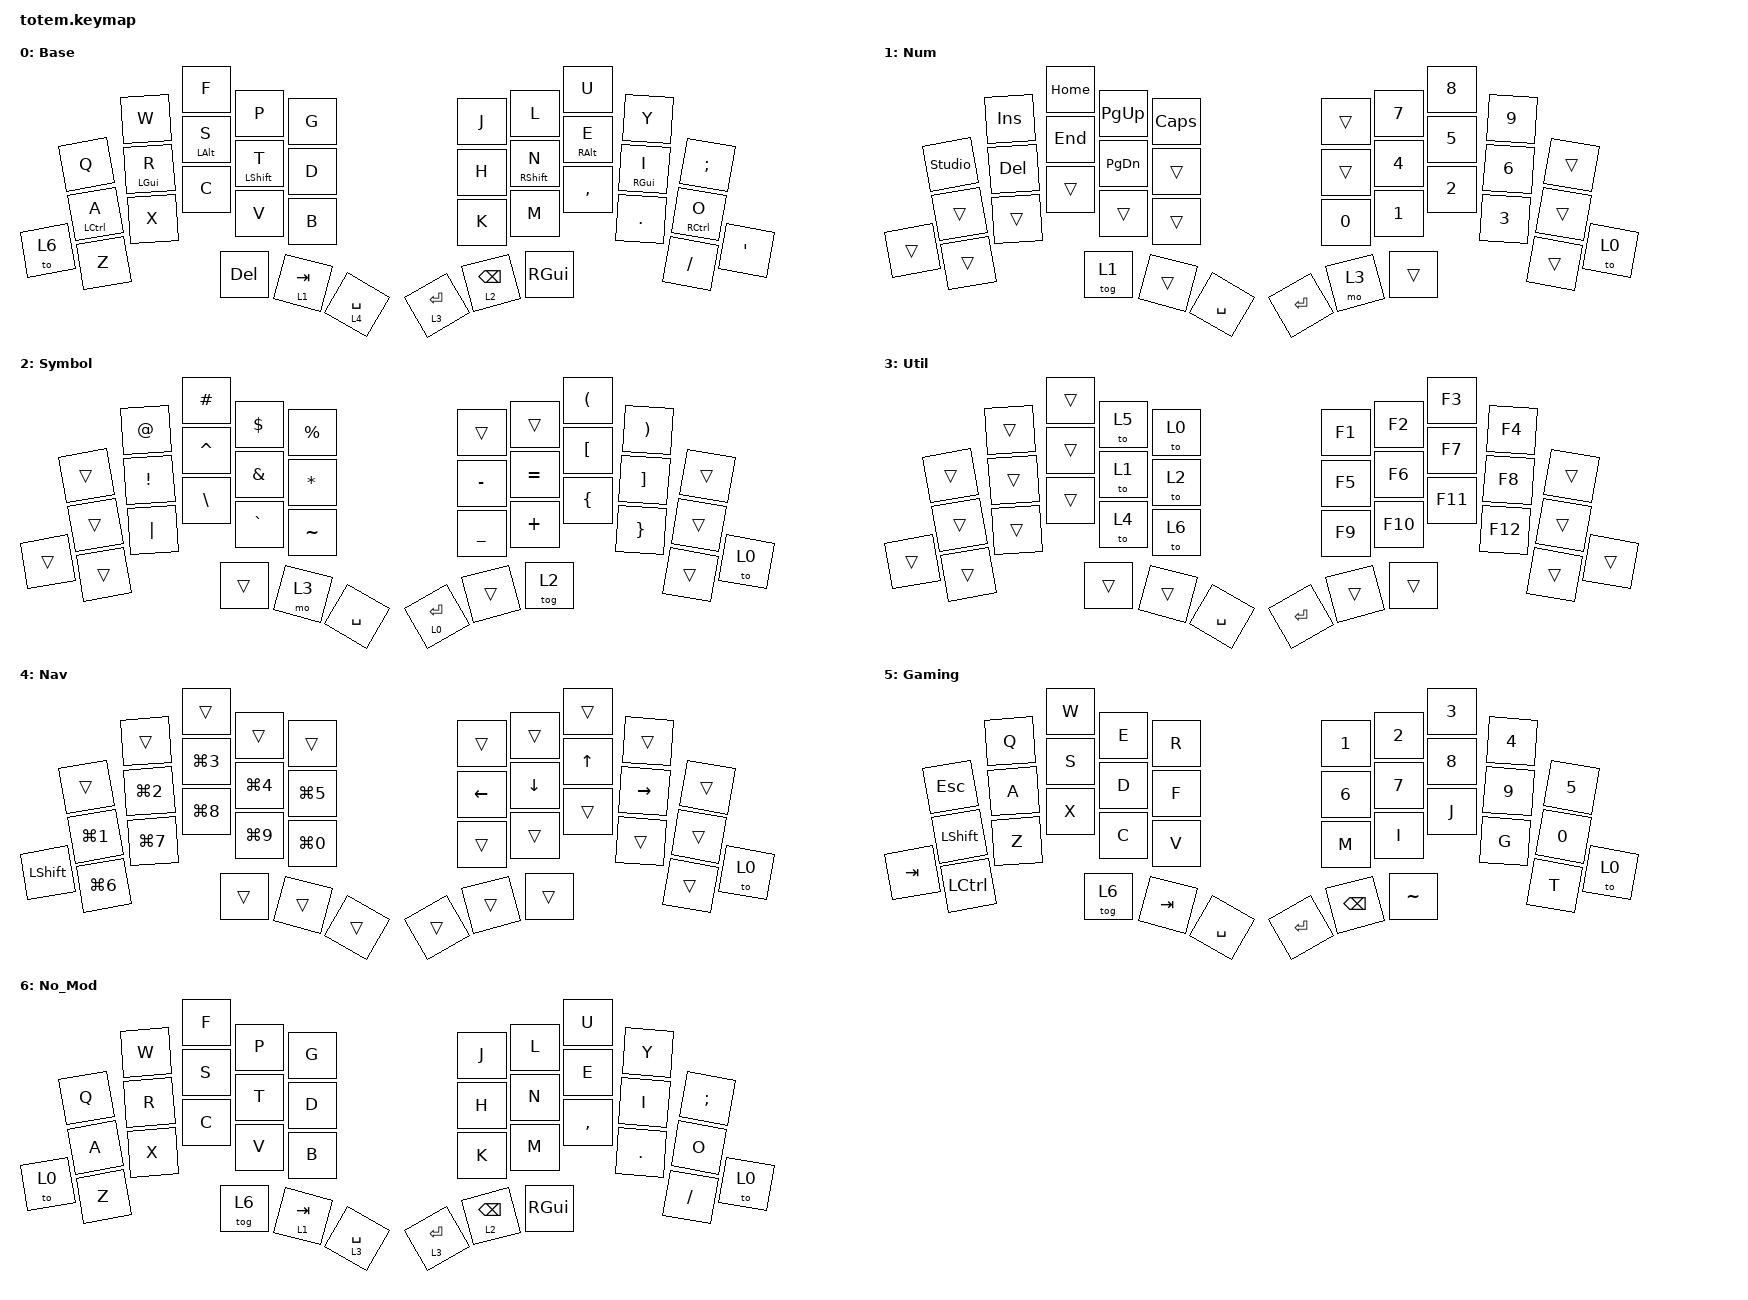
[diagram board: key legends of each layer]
//
//                                                        ▀▀▀▀▀     ▀▀▀▀▀          ▀▀█▀▀
//                                                        ▄▀▀▀▄  ▄  ▄▀▀▀▄  ▄  ▄▀▀▀▄  █  ▄▀▀▀▄
//                                                        █   █  █  █   █  █  █   █  █  █   █
//                                                         ▀▀▀   █   ▀▀▀   █   ▀▀▀   ▀   ▀▀▀
//                                                               █      ▄▄▄█▄▄▄    █   █  
//                                                               ▀      █  █  █     █▄█
//                                                             ▀▀▀▀▀    █  █  █      ▀
//                                                                      ▀  ▀  ▀
//
// ▄▄▄▄▄▄▄▄▄▄▄▄▄▄▄▄▄▄▄▄▄▄▄▄▄▄▄▄▄▄▄▄▄▄▄▄▄▄▄▄▄▄▄▄▄▄▄▄▄▄▄▄▄▄▄▄▄▄▄▄▄▄▄▄▄▄▄▄▄▄▄▄▄▄▄▄▄▄▄▄▄▄▄▄▄▄▄▄▄▄▄▄▄▄▄▄▄▄▄▄▄▄▄▄▄▄▄▄▄▄▄▄▄▄▄▄▄▄▄▄▄▄▄▄▄▄▄▄▄▄▄▄▄▄▄▄▄▄▄▄▄▄▄▄▄▄▄▄▄

#include <behaviors.dtsi>
#include <dt-bindings/zmk/keys.h>

#define Base 0
#define Num  1
#define Symbol  2
#define Function  3
#define Nav 4
#define Gaming 5
#define No_Mod 6

&mt {
    quick-tap-ms = <100>;
    flavor = "tap-preferred";
    tapping-term-ms = <170>;
};

/ {
    combos {
        compatible = "zmk,combos";

        esc {
            bindings = <&kp ESC>;
            key-positions = <3 2>;
        };

        tab {
            bindings = <&kp TAB>;
            key-positions = <2 1>;
        };

        bspc {
            bindings = <&kp BSPC>;
            key-positions = <8 7>;
        };

        caps {
            bindings = <&kp CAPS>;
            key-positions = <4 5>;
        };

        undo {
            bindings = <&kp LC(Z)>;
            key-positions = <21 22>;
        };

        redo {
            bindings = <&kp LC(Y)>;
            key-positions = <22 23>;
        };

        copy {
            bindings = <&kp LC(C)>;
            key-positions = <23 24>;
        };

        paste {
            bindings = <&kp LC(V)>;
            key-positions = <24 25>;
        };

        quote {
            bindings = <&kp SQT>;
            key-positions = <9 8>;
        };

        space {
            bindings = <&kp SPACE>;
            key-positions = <34 33>;
        };
    };

    keymap {
        compatible = "zmk,keymap";

        // ▄▄▄▄▄▄▄▄▄▄▄▄▄▄▄▄▄▄▄▄▄▄▄▄▄▄▄▄▄▄▄▄▄▄▄▄▄▄▄▄▄▄▄▄▄▄▄▄▄▄▄▄▄▄▄▄▄▄▄▄▄▄▄▄▄▄▄▄▄▄▄▄▄▄▄▄▄▄▄▄▄▄▄▄▄▄▄▄▄▄▄▄▄▄▄▄▄▄▄▄▄▄▄▄▄▄▄▄▄▄▄▄▄▄▄▄▄▄▄▄▄▄▄▄▄▄▄▄▄▄▄▄▄▄▄▄▄▄▄▄▄▄▄▄▄▄▄▄▄

        Base {
            display-name = "Base";
            bindings = <
       &kp Q        &kp W       &kp F       &kp P         &kp G          &kp J        &kp L         &kp U       &kp Y       &kp SEMI
       &mt LCTRL A  &mt LGUI R  &mt LALT S  &mt LSHIFT T  &kp D          &kp H        &mt RSHIFT N  &mt RALT E  &mt RGUI I  &mt RCTRL O
&to 6  &kp Z        &kp X       &kp C       &kp V         &kp B          &kp K        &kp M         &kp COMMA   &kp DOT     &kp FSLH     &kp SQT
                                &kp DELETE  &lt 1 TAB     &lt 4 SPACE    &lt 3 ENTER  &lt 2 BSPC    &kp RGUI
            >;
        };

        // ▄▄▄▄▄▄▄▄▄▄▄▄▄▄▄▄▄▄▄▄▄▄▄▄▄▄▄▄▄▄▄▄▄▄▄▄▄▄▄▄▄▄▄▄▄▄▄▄▄▄▄▄▄▄▄▄▄▄▄▄▄▄▄▄▄▄▄▄▄▄▄▄▄▄▄▄▄▄▄▄▄▄▄▄▄▄▄▄▄▄▄▄▄▄▄▄▄▄▄▄▄▄▄▄▄▄▄▄▄▄▄▄▄▄▄▄▄▄▄▄▄▄▄▄▄▄▄▄▄▄▄▄▄▄▄▄▄▄▄▄▄▄▄▄▄▄▄▄▄

        Num {
            display-name = "Num";
            bindings = <
        &studio_unlock  &kp INS     &kp HOME  &kp PAGE_UP    &kp CAPSLOCK    &trans   &kp N7  &kp N8  &kp N9  &trans
        &trans          &kp DELETE  &kp END   &kp PAGE_DOWN  &trans          &trans   &kp N4  &kp N5  &kp N6  &trans
&trans  &trans          &trans      &trans    &trans         &trans          &kp N0   &kp N1  &kp N2  &kp N3  &trans  &to 0
                                    &tog 1    &trans         &kp SPACE       &kp RET  &mo 3   &trans
            >;
        };

        // ▄▄▄▄▄▄▄▄▄▄▄▄▄▄▄▄▄▄▄▄▄▄▄▄▄▄▄▄▄▄▄▄▄▄▄▄▄▄▄▄▄▄▄▄▄▄▄▄▄▄▄▄▄▄▄▄▄▄▄▄▄▄▄▄▄▄▄▄▄▄▄▄▄▄▄▄▄▄▄▄▄▄▄▄▄▄▄▄▄▄▄▄▄▄▄▄▄▄▄▄▄▄▄▄▄▄▄▄▄▄▄▄▄▄▄▄▄▄▄▄▄▄▄▄▄▄▄▄▄▄▄▄▄▄▄▄▄▄▄▄▄▄▄▄▄▄▄▄▄

        Symbol {
            display-name = "Symbol";
            bindings = <
        &trans  &kp AT    &kp HASH       &kp DLLR   &kp PRCNT    &trans        &trans     &kp LPAR  &kp RPAR  &trans
        &trans  &kp EXCL  &kp CARET      &kp AMPS   &kp STAR     &kp MINUS     &kp EQUAL  &kp LBKT  &kp RBKT  &trans
&trans  &trans  &kp PIPE  &kp BACKSLASH  &kp GRAVE  &kp TILDE    &kp UNDER     &kp PLUS   &kp LBRC  &kp RBRC  &trans  &to 0
                          &trans         &mo 3      &kp SPACE    &lt 0 RETURN  &trans     &tog 2
            >;
        };

        // ▄▄▄▄▄▄▄▄▄▄▄▄▄▄▄▄▄▄▄▄▄▄▄▄▄▄▄▄▄▄▄▄▄▄▄▄▄▄▄▄▄▄▄▄▄▄▄▄▄▄▄▄▄▄▄▄▄▄▄▄▄▄▄▄▄▄▄▄▄▄▄▄▄▄▄▄▄▄▄▄▄▄▄▄▄▄▄▄▄▄▄▄▄▄▄▄▄▄▄▄▄▄▄▄▄▄▄▄▄▄▄▄▄▄▄▄▄▄▄▄▄▄▄▄▄▄▄▄▄▄▄▄▄▄▄▄▄▄▄▄▄▄▄▄▄▄▄▄▄

        Function {
            display-name = "Util";
            bindings = <
        &trans  &trans  &trans  &to 5   &to 0        &kp F1   &kp F2   &kp F3   &kp F4   &trans
        &trans  &trans  &trans  &to 1   &to 2        &kp F5   &kp F6   &kp F7   &kp F8   &trans
&trans  &trans  &trans  &trans  &to 4   &to 6        &kp F9   &kp F10  &kp F11  &kp F12  &trans  &trans
                        &trans  &trans  &kp SPACE    &kp RET  &trans   &trans
            >;
        };

        // ▄▄▄▄▄▄▄▄▄▄▄▄▄▄▄▄▄▄▄▄▄▄▄▄▄▄▄▄▄▄▄▄▄▄▄▄▄▄▄▄▄▄▄▄▄▄▄▄▄▄▄▄▄▄▄▄▄▄▄▄▄▄▄▄▄▄▄▄▄▄▄▄▄▄▄▄▄▄▄▄▄▄▄▄▄▄▄▄▄▄▄▄▄▄▄▄▄▄▄▄▄▄▄▄▄▄▄▄▄▄▄▄▄▄▄▄▄▄▄▄▄▄▄▄▄▄▄▄▄▄▄▄▄▄▄▄▄▄▄▄▄▄▄▄▄▄▄▄▄

        Nav {
            display-name = "Nav";
            bindings = <
            &trans      &trans      &trans      &trans      &trans        &trans    &trans    &trans  &trans     &trans
            &kp LG(N1)  &kp LG(N2)  &kp LG(N3)  &kp LG(N4)  &kp LG(N5)    &kp LEFT  &kp DOWN  &kp UP  &kp RIGHT  &trans
&kp LSHIFT  &kp LG(N6)  &kp LG(N7)  &kp LG(N8)  &kp LG(N9)  &kp LG(N0)    &trans    &trans    &trans  &trans     &trans  &to 0
                                    &trans      &trans      &trans        &trans    &trans    &trans
            >;
        };

        // ▄▄▄▄▄▄▄▄▄▄▄▄▄▄▄▄▄▄▄▄▄▄▄▄▄▄▄▄▄▄▄▄▄▄▄▄▄▄▄▄▄▄▄▄▄▄▄▄▄▄▄▄▄▄▄▄▄▄▄▄▄▄▄▄▄▄▄▄▄▄▄▄▄▄▄▄▄▄▄▄▄▄▄▄▄▄▄▄▄▄▄▄▄▄▄▄▄▄▄▄▄▄▄▄▄▄▄▄▄▄▄▄▄▄▄▄▄▄▄▄▄▄▄▄▄▄▄▄▄▄▄▄▄▄▄▄▄▄▄▄▄▄▄▄▄▄▄▄▄

        Gaming {
            display-name = "Gaming";
            bindings = <
         &kp ESC    &kp Q  &kp W   &kp E    &kp R        &kp N1   &kp N2    &kp N3     &kp N4  &kp N5
         &kp LSHFT  &kp A  &kp S   &kp D    &kp F        &kp N6   &kp N7    &kp N8     &kp N9  &kp N0
&kp TAB  &kp LCTRL  &kp Z  &kp X   &kp C    &kp V        &kp M    &kp I     &kp J      &kp G   &kp T   &to 0
                           &tog 6  &kp TAB  &kp SPACE    &kp RET  &kp BSPC  &kp TILDE
            >;
        };

        // ▄▄▄▄▄▄▄▄▄▄▄▄▄▄▄▄▄▄▄▄▄▄▄▄▄▄▄▄▄▄▄▄▄▄▄▄▄▄▄▄▄▄▄▄▄▄▄▄▄▄▄▄▄▄▄▄▄▄▄▄▄▄▄▄▄▄▄▄▄▄▄▄▄▄▄▄▄▄▄▄▄▄▄▄▄▄▄▄▄▄▄▄▄▄▄▄▄▄▄▄▄▄▄▄▄▄▄▄▄▄▄▄▄▄▄▄▄▄▄▄▄▄▄▄▄▄▄▄▄▄▄▄▄▄▄▄▄▄▄▄▄▄▄▄▄▄▄▄▄

        No_Mod {
            display-name = "No_Mod";
            bindings = <
       &kp Q  &kp W  &kp F   &kp P      &kp G          &kp J        &kp L       &kp U      &kp Y    &kp SEMI
       &kp A  &kp R  &kp S   &kp T      &kp D          &kp H        &kp N       &kp E      &kp I    &kp O
&to 0  &kp Z  &kp X  &kp C   &kp V      &kp B          &kp K        &kp M       &kp COMMA  &kp DOT  &kp FSLH  &to 0
                     &tog 6  &lt 1 TAB  &lt 3 SPACE    &lt 3 ENTER  &lt 2 BSPC  &kp RGUI
            >;
        };

        // ▄▄▄▄▄▄▄▄▄▄▄▄▄▄▄▄▄▄▄▄▄▄▄▄▄▄▄▄▄▄▄▄▄▄▄▄▄▄▄▄▄▄▄▄▄▄▄▄▄▄▄▄▄▄▄▄▄▄▄▄▄▄▄▄▄▄▄▄▄▄▄▄▄▄▄▄▄▄▄▄▄▄▄▄▄▄▄▄▄▄▄▄▄▄▄▄▄▄▄▄▄▄▄▄▄▄▄▄▄▄▄▄▄▄▄▄▄▄▄▄▄▄▄▄▄▄▄▄▄▄▄▄▄▄▄▄▄▄▄▄▄▄▄▄▄▄▄▄▄
    };
};
